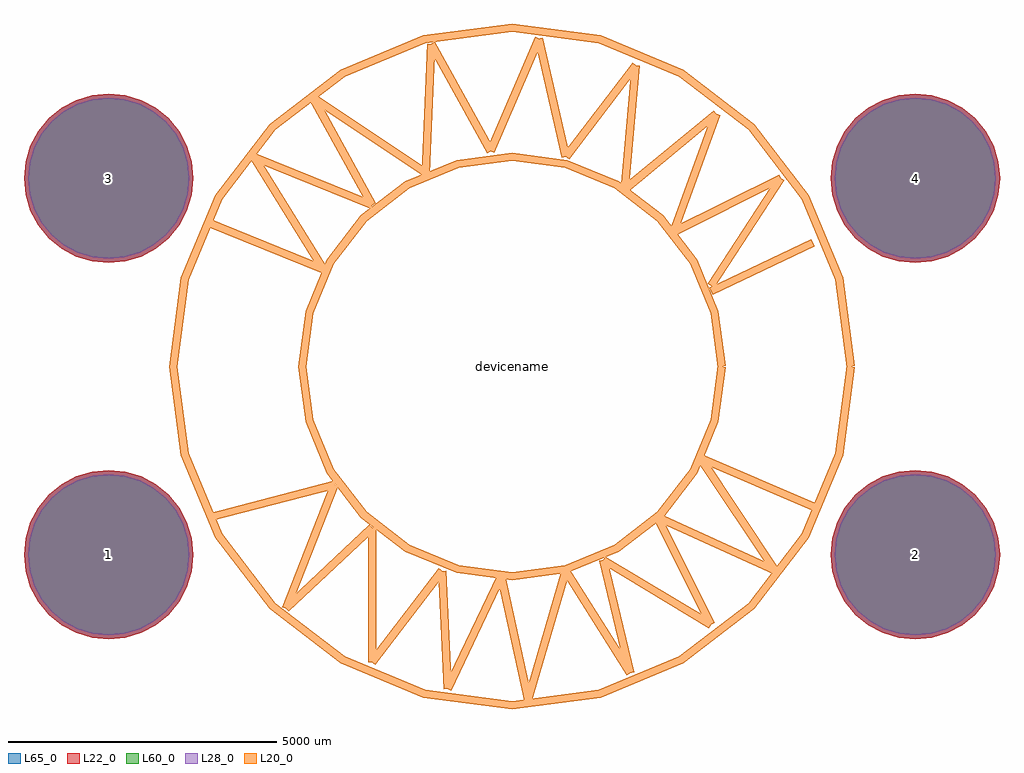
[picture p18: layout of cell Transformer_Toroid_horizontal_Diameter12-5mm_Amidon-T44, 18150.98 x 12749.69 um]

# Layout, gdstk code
import gdstk
lib = gdstk.Library(unit=1e-6, precision=1e-09)
def P(c, l, *ps):  # polygons
    for p in ps: c.add(gdstk.Polygon(p, *l))
L20_0 = (20, 0)
L22_0 = (22, 0)
L28_0 = (28, 0)
L60_0 = (60, 0)
L65_0 = (65, 0)

transformer_toroid_horiz = lib.new_cell('Transformer_Toroid_horizontal_Diameter12-5mm_Amidon-T44')
P(transformer_toroid_horiz, L22_0, [(9075.49,3500.12),(9045.229,3807.362),(8955.61,4102.797),(8810.077,4375.071),(8614.221,4613.721),(8375.571,4809.577),(8103.297,4955.11),(7807.862,5044.729),(7500.62,5074.99),(7193.378,5044.729),(6897.943,4955.11),(6625.669,4809.577),(6387.019,4613.721),(6191.163,4375.071),(6045.63,4102.797),(5956.011,3807.362),(5925.75,3500.12),(5956.011,3192.878),(6045.63,2897.443),(6191.163,2625.169),(6387.019,2386.519),(6625.669,2190.663),(6897.943,2045.13),(7193.378,1955.511),(7500.62,1925.25),(7807.862,1955.511),(8103.297,2045.13),(8375.571,2190.663),(8614.221,2386.519),(8810.077,2625.169),(8955.61,2897.443),(9045.229,3192.878)],
  [(-5925.75,3500.12),(-5956.011,3807.362),(-6045.63,4102.797),(-6191.163,4375.071),(-6387.019,4613.721),(-6625.669,4809.577),(-6897.943,4955.11),(-7193.378,5044.729),(-7500.62,5074.99),(-7807.862,5044.729),(-8103.297,4955.11),(-8375.571,4809.577),(-8614.221,4613.721),(-8810.077,4375.071),(-8955.61,4102.797),(-9045.229,3807.362),(-9075.49,3500.12),(-9045.229,3192.878),(-8955.61,2897.443),(-8810.077,2625.169),(-8614.221,2386.519),(-8375.571,2190.663),(-8103.297,2045.13),(-7807.862,1955.511),(-7500.62,1925.25),(-7193.378,1955.511),(-6897.943,2045.13),(-6625.669,2190.663),(-6387.019,2386.519),(-6191.163,2625.169),(-6045.63,2897.443),(-5956.011,3192.878)],
  [(9075.49,-3500.12),(9045.229,-3192.878),(8955.61,-2897.443),(8810.077,-2625.169),(8614.221,-2386.519),(8375.571,-2190.663),(8103.297,-2045.13),(7807.862,-1955.511),(7500.62,-1925.25),(7193.378,-1955.511),(6897.943,-2045.13),(6625.669,-2190.663),(6387.019,-2386.519),(6191.163,-2625.169),(6045.63,-2897.443),(5956.011,-3192.878),(5925.75,-3500.12),(5956.011,-3807.362),(6045.63,-4102.797),(6191.163,-4375.071),(6387.019,-4613.721),(6625.669,-4809.577),(6897.943,-4955.11),(7193.378,-5044.729),(7500.62,-5074.99),(7807.862,-5044.729),(8103.297,-4955.11),(8375.571,-4809.577),(8614.221,-4613.721),(8810.077,-4375.071),(8955.61,-4102.797),(9045.229,-3807.362)],
  [(-5925.75,-3500.12),(-5956.011,-3192.878),(-6045.63,-2897.443),(-6191.163,-2625.169),(-6387.019,-2386.519),(-6625.669,-2190.663),(-6897.943,-2045.13),(-7193.378,-1955.511),(-7500.62,-1925.25),(-7807.862,-1955.511),(-8103.297,-2045.13),(-8375.571,-2190.663),(-8614.221,-2386.519),(-8810.077,-2625.169),(-8955.61,-2897.443),(-9045.229,-3192.878),(-9075.49,-3500.12),(-9045.229,-3807.362),(-8955.61,-4102.797),(-8810.077,-4375.071),(-8614.221,-4613.721),(-8375.571,-4809.577),(-8103.297,-4955.11),(-7807.862,-5044.729),(-7500.62,-5074.99),(-7193.378,-5044.729),(-6897.943,-4955.11),(-6625.669,-4809.577),(-6387.019,-4613.721),(-6191.163,-4375.071),(-6045.63,-4102.797),(-5956.011,-3807.362)])
P(transformer_toroid_horiz, L28_0, [(9000.49,3500.12),(8971.67,3792.73),(8886.319,4074.095),(8747.716,4333.403),(8561.188,4560.688),(8333.903,4747.216),(8074.595,4885.819),(7793.23,4971.17),(7500.62,4999.99),(7208.01,4971.17),(6926.645,4885.819),(6667.337,4747.216),(6440.052,4560.688),(6253.524,4333.403),(6114.921,4074.095),(6029.57,3792.73),(6000.75,3500.12),(6029.57,3207.51),(6114.921,2926.145),(6253.524,2666.837),(6440.052,2439.552),(6667.337,2253.024),(6926.645,2114.421),(7208.01,2029.07),(7500.62,2000.25),(7793.23,2029.07),(8074.595,2114.421),(8333.903,2253.024),(8561.188,2439.552),(8747.716,2666.837),(8886.319,2926.145),(8971.67,3207.51)],
  [(-6000.75,3500.12),(-6029.57,3792.73),(-6114.921,4074.095),(-6253.524,4333.403),(-6440.052,4560.688),(-6667.337,4747.216),(-6926.645,4885.819),(-7208.01,4971.17),(-7500.62,4999.99),(-7793.23,4971.17),(-8074.595,4885.819),(-8333.903,4747.216),(-8561.188,4560.688),(-8747.716,4333.403),(-8886.319,4074.095),(-8971.67,3792.73),(-9000.49,3500.12),(-8971.67,3207.51),(-8886.319,2926.145),(-8747.716,2666.837),(-8561.188,2439.552),(-8333.903,2253.024),(-8074.595,2114.421),(-7793.23,2029.07),(-7500.62,2000.25),(-7208.01,2029.07),(-6926.645,2114.421),(-6667.337,2253.024),(-6440.052,2439.552),(-6253.524,2666.837),(-6114.921,2926.145),(-6029.57,3207.51)],
  [(9000.49,-3500.12),(8971.67,-3207.51),(8886.319,-2926.145),(8747.716,-2666.837),(8561.188,-2439.552),(8333.903,-2253.024),(8074.595,-2114.421),(7793.23,-2029.07),(7500.62,-2000.25),(7208.01,-2029.07),(6926.645,-2114.421),(6667.337,-2253.024),(6440.052,-2439.552),(6253.524,-2666.837),(6114.921,-2926.145),(6029.57,-3207.51),(6000.75,-3500.12),(6029.57,-3792.73),(6114.921,-4074.095),(6253.524,-4333.403),(6440.052,-4560.688),(6667.337,-4747.216),(6926.645,-4885.819),(7208.01,-4971.17),(7500.62,-4999.99),(7793.23,-4971.17),(8074.595,-4885.819),(8333.903,-4747.216),(8561.188,-4560.688),(8747.716,-4333.403),(8886.319,-4074.095),(8971.67,-3792.73)],
  [(-6000.75,-3500.12),(-6029.57,-3207.51),(-6114.921,-2926.145),(-6253.524,-2666.837),(-6440.052,-2439.552),(-6667.337,-2253.024),(-6926.645,-2114.421),(-7208.01,-2029.07),(-7500.62,-2000.25),(-7793.23,-2029.07),(-8074.595,-2114.421),(-8333.903,-2253.024),(-8561.188,-2439.552),(-8747.716,-2666.837),(-8886.319,-2926.145),(-8971.67,-3207.51),(-9000.49,-3500.12),(-8971.67,-3792.73),(-8886.319,-4074.095),(-8747.716,-4333.403),(-8561.188,-4560.688),(-8333.903,-4747.216),(-8074.595,-4885.819),(-7793.23,-4971.17),(-7500.62,-4999.99),(-7208.01,-4971.17),(-6926.645,-4885.819),(-6667.337,-4747.216),(-6440.052,-4560.688),(-6253.524,-4333.403),(-6114.921,-4074.095),(-6029.57,-3792.73)])
P(transformer_toroid_horiz, L60_0, [(9000.49,3500.12),(8971.67,3792.73),(8886.319,4074.095),(8747.716,4333.403),(8561.188,4560.688),(8333.903,4747.216),(8074.595,4885.819),(7793.23,4971.17),(7500.62,4999.99),(7208.01,4971.17),(6926.645,4885.819),(6667.337,4747.216),(6440.052,4560.688),(6253.524,4333.403),(6114.921,4074.095),(6029.57,3792.73),(6000.75,3500.12),(6029.57,3207.51),(6114.921,2926.145),(6253.524,2666.837),(6440.052,2439.552),(6667.337,2253.024),(6926.645,2114.421),(7208.01,2029.07),(7500.62,2000.25),(7793.23,2029.07),(8074.595,2114.421),(8333.903,2253.024),(8561.188,2439.552),(8747.716,2666.837),(8886.319,2926.145),(8971.67,3207.51)],
  [(-6000.75,3500.12),(-6029.57,3792.73),(-6114.921,4074.095),(-6253.524,4333.403),(-6440.052,4560.688),(-6667.337,4747.216),(-6926.645,4885.819),(-7208.01,4971.17),(-7500.62,4999.99),(-7793.23,4971.17),(-8074.595,4885.819),(-8333.903,4747.216),(-8561.188,4560.688),(-8747.716,4333.403),(-8886.319,4074.095),(-8971.67,3792.73),(-9000.49,3500.12),(-8971.67,3207.51),(-8886.319,2926.145),(-8747.716,2666.837),(-8561.188,2439.552),(-8333.903,2253.024),(-8074.595,2114.421),(-7793.23,2029.07),(-7500.62,2000.25),(-7208.01,2029.07),(-6926.645,2114.421),(-6667.337,2253.024),(-6440.052,2439.552),(-6253.524,2666.837),(-6114.921,2926.145),(-6029.57,3207.51)],
  [(9000.49,-3500.12),(8971.67,-3207.51),(8886.319,-2926.145),(8747.716,-2666.837),(8561.188,-2439.552),(8333.903,-2253.024),(8074.595,-2114.421),(7793.23,-2029.07),(7500.62,-2000.25),(7208.01,-2029.07),(6926.645,-2114.421),(6667.337,-2253.024),(6440.052,-2439.552),(6253.524,-2666.837),(6114.921,-2926.145),(6029.57,-3207.51),(6000.75,-3500.12),(6029.57,-3792.73),(6114.921,-4074.095),(6253.524,-4333.403),(6440.052,-4560.688),(6667.337,-4747.216),(6926.645,-4885.819),(7208.01,-4971.17),(7500.62,-4999.99),(7793.23,-4971.17),(8074.595,-4885.819),(8333.903,-4747.216),(8561.188,-4560.688),(8747.716,-4333.403),(8886.319,-4074.095),(8971.67,-3792.73)],
  [(-6000.75,-3500.12),(-6029.57,-3207.51),(-6114.921,-2926.145),(-6253.524,-2666.837),(-6440.052,-2439.552),(-6667.337,-2253.024),(-6926.645,-2114.421),(-7208.01,-2029.07),(-7500.62,-2000.25),(-7793.23,-2029.07),(-8074.595,-2114.421),(-8333.903,-2253.024),(-8561.188,-2439.552),(-8747.716,-2666.837),(-8886.319,-2926.145),(-8971.67,-3207.51),(-9000.49,-3500.12),(-8971.67,-3792.73),(-8886.319,-4074.095),(-8747.716,-4333.403),(-8561.188,-4560.688),(-8333.903,-4747.216),(-8074.595,-4885.819),(-7793.23,-4971.17),(-7500.62,-4999.99),(-7208.01,-4971.17),(-6926.645,-4885.819),(-6667.337,-4747.216),(-6440.052,-4560.688),(-6253.524,-4333.403),(-6114.921,-4074.095),(-6029.57,-3792.73)])
P(transformer_toroid_horiz, L65_0, [(9075.49,3500.12),(9045.229,3807.362),(8955.61,4102.797),(8810.077,4375.071),(8614.221,4613.721),(8375.571,4809.577),(8103.297,4955.11),(7807.862,5044.729),(7500.62,5074.99),(7193.378,5044.729),(6897.943,4955.11),(6625.669,4809.577),(6387.019,4613.721),(6191.163,4375.071),(6045.63,4102.797),(5956.011,3807.362),(5925.75,3500.12),(5956.011,3192.878),(6045.63,2897.443),(6191.163,2625.169),(6387.019,2386.519),(6625.669,2190.663),(6897.943,2045.13),(7193.378,1955.511),(7500.62,1925.25),(7807.862,1955.511),(8103.297,2045.13),(8375.571,2190.663),(8614.221,2386.519),(8810.077,2625.169),(8955.61,2897.443),(9045.229,3192.878)],
  [(-5925.75,3500.12),(-5956.011,3807.362),(-6045.63,4102.797),(-6191.163,4375.071),(-6387.019,4613.721),(-6625.669,4809.577),(-6897.943,4955.11),(-7193.378,5044.729),(-7500.62,5074.99),(-7807.862,5044.729),(-8103.297,4955.11),(-8375.571,4809.577),(-8614.221,4613.721),(-8810.077,4375.071),(-8955.61,4102.797),(-9045.229,3807.362),(-9075.49,3500.12),(-9045.229,3192.878),(-8955.61,2897.443),(-8810.077,2625.169),(-8614.221,2386.519),(-8375.571,2190.663),(-8103.297,2045.13),(-7807.862,1955.511),(-7500.62,1925.25),(-7193.378,1955.511),(-6897.943,2045.13),(-6625.669,2190.663),(-6387.019,2386.519),(-6191.163,2625.169),(-6045.63,2897.443),(-5956.011,3192.878)],
  [(9075.49,-3500.12),(9045.229,-3192.878),(8955.61,-2897.443),(8810.077,-2625.169),(8614.221,-2386.519),(8375.571,-2190.663),(8103.297,-2045.13),(7807.862,-1955.511),(7500.62,-1925.25),(7193.378,-1955.511),(6897.943,-2045.13),(6625.669,-2190.663),(6387.019,-2386.519),(6191.163,-2625.169),(6045.63,-2897.443),(5956.011,-3192.878),(5925.75,-3500.12),(5956.011,-3807.362),(6045.63,-4102.797),(6191.163,-4375.071),(6387.019,-4613.721),(6625.669,-4809.577),(6897.943,-4955.11),(7193.378,-5044.729),(7500.62,-5074.99),(7807.862,-5044.729),(8103.297,-4955.11),(8375.571,-4809.577),(8614.221,-4613.721),(8810.077,-4375.071),(8955.61,-4102.797),(9045.229,-3807.362)],
  [(-5925.75,-3500.12),(-5956.011,-3192.878),(-6045.63,-2897.443),(-6191.163,-2625.169),(-6387.019,-2386.519),(-6625.669,-2190.663),(-6897.943,-2045.13),(-7193.378,-1955.511),(-7500.62,-1925.25),(-7807.862,-1955.511),(-8103.297,-2045.13),(-8375.571,-2190.663),(-8614.221,-2386.519),(-8810.077,-2625.169),(-8955.61,-2897.443),(-9045.229,-3192.878),(-9075.49,-3500.12),(-9045.229,-3807.362),(-8955.61,-4102.797),(-8810.077,-4375.071),(-8614.221,-4613.721),(-8375.571,-4809.577),(-8103.297,-4955.11),(-7807.862,-5044.729),(-7500.62,-5074.99),(-7193.378,-5044.729),(-6897.943,-4955.11),(-6625.669,-4809.577),(-6387.019,-4613.721),(-6191.163,-4375.071),(-6045.63,-4102.797),(-5956.011,-3807.362)])
transformer_toroid_horiz.add(gdstk.FlexPath([(6299.2,0),(6084.56,1630.353),(5455.267,3149.6),(4454.207,4454.207),(3149.6,5455.267),(1630.353,6084.56),(0,6299.2),(-1630.353,6084.56),(-3149.6,5455.267),(-4454.207,4454.207),(-5455.267,3149.6),(-6084.56,1630.353),(-6299.2,0),(-6084.56,-1630.353),(-5455.267,-3149.6),(-4454.207,-4454.207),(-3149.6,-5455.267),(-1630.353,-6084.56),(0,-6299.2),(1630.353,-6084.56),(3149.6,-5455.267),(4454.207,-4454.207),(5455.267,-3149.6),(6084.56,-1630.353),(6299.2,0)], 149.998, ends="flush", simple_path=True, layer=20, datatype=0))  # L20_0
transformer_toroid_horiz.add(gdstk.FlexPath([(3898.9,0),(3766.048,1009.11),(3376.546,1949.45),(2756.939,2756.939),(1949.45,3376.546),(1009.11,3766.048),(0,3898.9),(-1009.11,3766.048),(-1949.45,3376.546),(-2756.939,2756.939),(-3376.546,1949.45),(-3766.048,1009.11),(-3898.9,0),(-3766.048,-1009.11),(-3376.546,-1949.45),(-2756.939,-2756.939),(-1949.45,-3376.546),(-1009.11,-3766.048),(0,-3898.9),(1009.11,-3766.048),(1949.45,-3376.546),(2756.939,-2756.939),(3376.546,-1949.45),(3766.048,-1009.11),(3898.9,0)], 149.998, ends="flush", simple_path=True, layer=20, datatype=0))  # L20_0
transformer_toroid_horiz.add(gdstk.FlexPath([(3500.12,-1699.26),(5600.7,-2600.96)], 149.998, ends="flush", simple_path=True, layer=20, datatype=0))  # L20_0
transformer_toroid_horiz.add(gdstk.FlexPath([(4899.66,-3799.84),(3500.12,-1699.26)], 149.998, ends="flush", simple_path=True, layer=20, datatype=0))  # L20_0
transformer_toroid_horiz.add(gdstk.FlexPath([(2700.02,-2799.08),(4899.66,-3799.84)], 149.998, ends="flush", simple_path=True, layer=20, datatype=0))  # L20_0
transformer_toroid_horiz.add(gdstk.FlexPath([(3700.78,-4800.6),(2700.02,-2799.08)], 149.998, ends="flush", simple_path=True, layer=20, datatype=0))  # L20_0
transformer_toroid_horiz.add(gdstk.FlexPath([(1699.26,-3599.18),(3700.78,-4800.6)], 149.998, ends="flush", simple_path=True, layer=20, datatype=0))  # L20_0
transformer_toroid_horiz.add(gdstk.FlexPath([(2199.64,-5699.76),(1699.26,-3599.18)], 149.998, ends="flush", simple_path=True, layer=20, datatype=0))  # L20_0
transformer_toroid_horiz.add(gdstk.FlexPath([(1000.76,-3799.84),(2199.64,-5699.76)], 149.998, ends="flush", simple_path=True, layer=20, datatype=0))  # L20_0
transformer_toroid_horiz.add(gdstk.FlexPath([(299.72,-6200.14),(1000.76,-3799.84)], 149.998, ends="flush", simple_path=True, layer=20, datatype=0))  # L20_0
transformer_toroid_horiz.add(gdstk.FlexPath([(-200.66,-3898.9),(299.72,-6200.14)], 149.998, ends="flush", simple_path=True, layer=20, datatype=0))  # L20_0
transformer_toroid_horiz.add(gdstk.FlexPath([(-1198.88,-5999.48),(-200.66,-3898.9)], 149.998, ends="flush", simple_path=True, layer=20, datatype=0))  # L20_0
transformer_toroid_horiz.add(gdstk.FlexPath([(-1300.48,-3799.84),(-1198.88,-5999.48)], 149.998, ends="flush", simple_path=True, layer=20, datatype=0))  # L20_0
transformer_toroid_horiz.add(gdstk.FlexPath([(-2600.96,-5499.1),(-1300.48,-3799.84)], 149.998, ends="flush", simple_path=True, layer=20, datatype=0))  # L20_0
transformer_toroid_horiz.add(gdstk.FlexPath([(-2600.96,-2999.74),(-2600.96,-5499.1)], 149.998, ends="flush", simple_path=True, layer=20, datatype=0))  # L20_0
transformer_toroid_horiz.add(gdstk.FlexPath([(-4201.16,-4500.88),(-2600.96,-2999.74)], 149.998, ends="flush", simple_path=True, layer=20, datatype=0))  # L20_0
transformer_toroid_horiz.add(gdstk.FlexPath([(-3299.46,-2199.64),(-4201.16,-4500.88)], 149.998, ends="flush", simple_path=True, layer=20, datatype=0))  # L20_0
transformer_toroid_horiz.add(gdstk.FlexPath([(-5600.7,-2799.08),(-3299.46,-2199.64)], 149.998, ends="flush", simple_path=True, layer=20, datatype=0))  # L20_0
transformer_toroid_horiz.add(gdstk.FlexPath([(5001.26,3500.12),(3700.78,1501.14)], 149.998, ends="flush", simple_path=True, layer=20, datatype=0))  # L20_0
transformer_toroid_horiz.add(gdstk.FlexPath([(2999.74,2499.36),(5001.26,3500.12)], 149.998, ends="flush", simple_path=True, layer=20, datatype=0))  # L20_0
transformer_toroid_horiz.add(gdstk.FlexPath([(3799.84,4699),(2999.74,2499.36)], 149.998, ends="flush", simple_path=True, layer=20, datatype=0))  # L20_0
transformer_toroid_horiz.add(gdstk.FlexPath([(2100.58,3299.46),(3799.84,4699)], 149.998, ends="flush", simple_path=True, layer=20, datatype=0))  # L20_0
transformer_toroid_horiz.add(gdstk.FlexPath([(2301.24,5600.7),(2100.58,3299.46)], 149.998, ends="flush", simple_path=True, layer=20, datatype=0))  # L20_0
transformer_toroid_horiz.add(gdstk.FlexPath([(1000.76,3898.9),(2301.24,5600.7)], 149.998, ends="flush", simple_path=True, layer=20, datatype=0))  # L20_0
transformer_toroid_horiz.add(gdstk.FlexPath([(500.38,6101.08),(1000.76,3898.9)], 149.998, ends="flush", simple_path=True, layer=20, datatype=0))  # L20_0
transformer_toroid_horiz.add(gdstk.FlexPath([(-398.78,4000.5),(500.38,6101.08)], 149.998, ends="flush", simple_path=True, layer=20, datatype=0))  # L20_0
transformer_toroid_horiz.add(gdstk.FlexPath([(-1501.14,5999.48),(-398.78,4000.5)], 149.998, ends="flush", simple_path=True, layer=20, datatype=0))  # L20_0
transformer_toroid_horiz.add(gdstk.FlexPath([(-1600.2,3599.18),(-1501.14,5999.48)], 149.998, ends="flush", simple_path=True, layer=20, datatype=0))  # L20_0
transformer_toroid_horiz.add(gdstk.FlexPath([(-3700.78,5001.26),(-1600.2,3599.18)], 149.998, ends="flush", simple_path=True, layer=20, datatype=0))  # L20_0
transformer_toroid_horiz.add(gdstk.FlexPath([(-2600.96,2999.74),(-3700.78,5001.26)], 149.998, ends="flush", simple_path=True, layer=20, datatype=0))  # L20_0
transformer_toroid_horiz.add(gdstk.FlexPath([(-4800.6,3898.9),(-2600.96,2999.74)], 149.998, ends="flush", simple_path=True, layer=20, datatype=0))  # L20_0
transformer_toroid_horiz.add(gdstk.FlexPath([(-3500.12,1800.86),(-4800.6,3898.9)], 149.998, ends="flush", simple_path=True, layer=20, datatype=0))  # L20_0
transformer_toroid_horiz.add(gdstk.FlexPath([(-5699.76,2700.02),(-3500.12,1800.86)], 149.998, ends="flush", simple_path=True, layer=20, datatype=0))  # L20_0
transformer_toroid_horiz.add(gdstk.FlexPath([(3700.78,1399.54),(5600.7,2301.24)], 149.998, ends="flush", simple_path=True, layer=20, datatype=0))  # L20_0
transformer_toroid_horiz.add(gdstk.Label('4', (7500.62,3500.12), layer=28, texttype=0))
transformer_toroid_horiz.add(gdstk.Label('3', (-7500.62,3500.12), layer=28, texttype=0))
transformer_toroid_horiz.add(gdstk.Label('2', (7500.62,-3500.12), layer=28, texttype=0))
transformer_toroid_horiz.add(gdstk.Label('1', (-7500.62,-3500.12), layer=28, texttype=0))
transformer_toroid_horiz.add(gdstk.Label('type', (0,-7620), layer=9, texttype=0))
transformer_toroid_horiz.add(gdstk.Label('devicename', (0,0), layer=9, texttype=0))

lib.write_gds('Transformer_Toroid_horizontal_Diameter12-5mm_Amidon-T44.gds')
